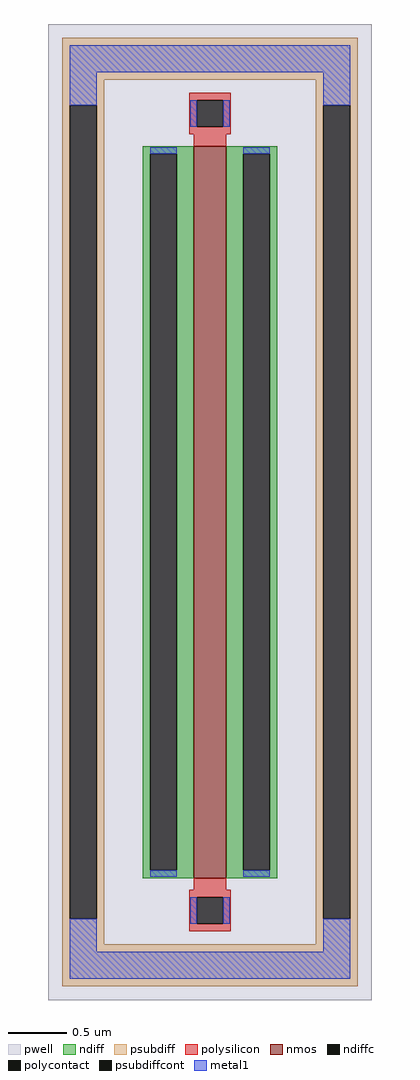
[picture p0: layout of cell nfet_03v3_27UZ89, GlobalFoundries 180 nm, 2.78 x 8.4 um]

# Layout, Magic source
magic
tech gf180mcuD
magscale 1 10
<< pwell >>
rect -278 -840 278 840
<< nmos >>
rect -28 -630 28 630
<< ndiff >>
rect -116 617 -28 630
rect -116 -617 -103 617
rect -57 -617 -28 617
rect -116 -630 -28 -617
rect 28 617 116 630
rect 28 -617 57 617
rect 103 -617 116 617
rect 28 -630 116 -617
<< ndiffc >>
rect -103 -617 -57 617
rect 57 -617 103 617
<< psubdiff >>
rect -254 744 254 816
rect -254 700 -182 744
rect -254 -700 -241 700
rect -195 -700 -182 700
rect 182 700 254 744
rect -254 -744 -182 -700
rect 182 -700 195 700
rect 241 -700 254 700
rect 182 -744 254 -700
rect -254 -816 254 -744
<< psubdiffcont >>
rect -241 -700 -195 700
rect 195 -700 241 700
<< polysilicon >>
rect -36 709 36 722
rect -36 663 -23 709
rect 23 663 36 709
rect -36 650 36 663
rect -28 630 28 650
rect -28 -650 28 -630
rect -36 -663 36 -650
rect -36 -709 -23 -663
rect 23 -709 36 -663
rect -36 -722 36 -709
<< polycontact >>
rect -23 663 23 709
rect -23 -709 23 -663
<< metal1 >>
rect -241 757 241 803
rect -241 700 -195 757
rect -34 663 -23 709
rect 23 663 34 709
rect 195 700 241 757
rect -103 617 -57 628
rect -103 -628 -57 -617
rect 57 617 103 628
rect 57 -628 103 -617
rect -241 -757 -195 -700
rect -34 -709 -23 -663
rect 23 -709 34 -663
rect 195 -757 241 -700
rect -241 -803 241 -757
<< properties >>
string FIXED_BBOX -218 -780 218 780
string gencell nfet_03v3
string library gf180mcu
string parameters w 6.3 l 0.28 m 1 nf 1 diffcov 100 polycov 100 guard 1 glc 1 grc 1 gtc 0 gbc 0 tbcov 100 rlcov 100 topc 1 botc 1 poverlap 0 doverlap 1 lmin 0.28 wmin 0.22 class mosfet full_metal 1 compatible {nfet_03v3 nfet_05v0 nfet_06v0 nfet_06v0_nvt} ad {int((nf+1)/2) * W/nf * 0.18u} as {int((nf+2)/2) * W/nf * 0.18u} pd {2*int((nf+1)/2) * (W/nf + 0.18u)} ps {2*int((nf+2)/2) * (W/nf + 0.18u)} nrd {0.18u / W} nrs {0.18u / W} sa 0 sb 0 sd 0
<< end >>
